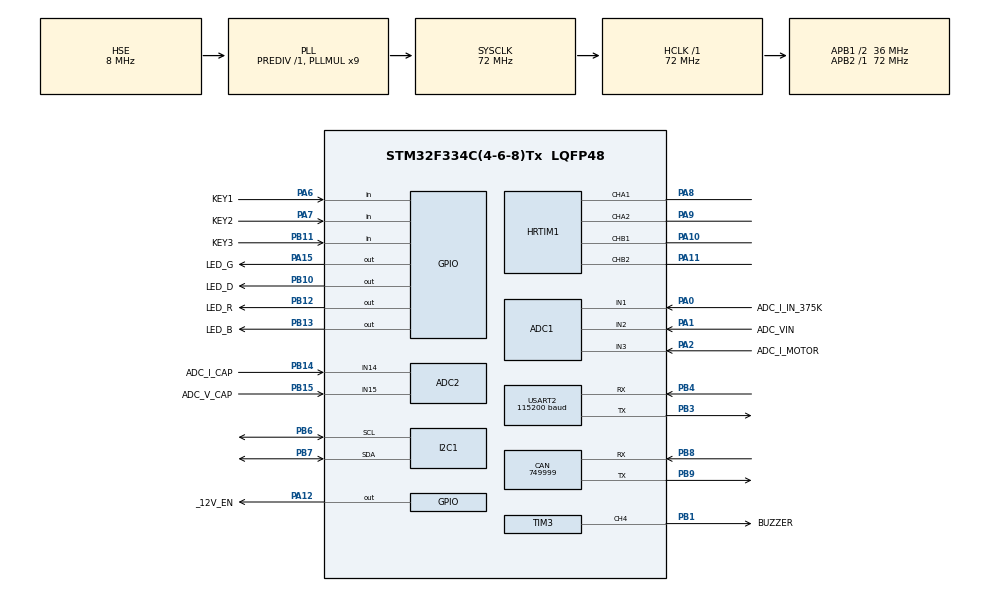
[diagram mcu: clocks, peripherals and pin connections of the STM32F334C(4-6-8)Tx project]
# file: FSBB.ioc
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ADC1.Channel-1\#ChannelRegularConversion=ADC_CHANNEL_2
ADC1.Channel-2\#ChannelRegularConversion=ADC_CHANNEL_1
ADC1.Channel-3\#ChannelRegularConversion=ADC_CHANNEL_3
ADC1.ClockPrescaler=ADC_CLOCK_ASYNC_DIV1
ADC1.ContinuousConvMode=ENABLE
ADC1.DMAContinuousRequests=ENABLE
ADC1.EnableInjectedConversion=DISABLE
ADC1.ExternalTrigConv=ADC_SOFTWARE_START
ADC1.NbrOfConversion=3
ADC1.NbrOfConversionFlag=1
ADC1.Offset-1\#ChannelRegularConversion=0
ADC1.Offset-2\#ChannelRegularConversion=0
ADC1.Offset-3\#ChannelRegularConversion=0
ADC1.OffsetNumber-1\#ChannelRegularConversion=ADC_OFFSET_NONE
ADC1.OffsetNumber-2\#ChannelRegularConversion=ADC_OFFSET_NONE
ADC1.OffsetNumber-3\#ChannelRegularConversion=ADC_OFFSET_NONE
ADC1.Rank-1\#ChannelRegularConversion=1
ADC1.Rank-2\#ChannelRegularConversion=2
ADC1.Rank-3\#ChannelRegularConversion=3
ADC1.SamplingTime-1\#ChannelRegularConversion=ADC_SAMPLETIME_181CYCLES_5
ADC1.SamplingTime-2\#ChannelRegularConversion=ADC_SAMPLETIME_181CYCLES_5
ADC1.SamplingTime-3\#ChannelRegularConversion=ADC_SAMPLETIME_181CYCLES_5
ADC1.SamplingTimeOPAMP-2\#ChannelRegularConversion=ADC_SAMPLETIME_61CYCLES_5
ADC1.SamplingTimeOPAMP-3\#ChannelRegularConversion=ADC_SAMPLETIME_61CYCLES_5
ADC1.SubFamily=STM32F334x8
ADC1.master=1
ADC2.Channel-0\#ChannelRegularConversion=ADC_CHANNEL_15
ADC2.Channel-1\#ChannelRegularConversion=ADC_CHANNEL_14
ADC2.Channel-2\#ChannelRegularConversion=ADC_CHANNEL_VREFINT
ADC2.ContinuousConvMode=ENABLE
ADC2.DMAContinuousRequests=ENABLE
ADC2.EnableInjectedConversion=DISABLE
ADC2.ExternalTrigConv=ADC_SOFTWARE_START
ADC2.NbrOfConversion=3
ADC2.NbrOfConversionFlag=1
ADC2.Offset-0\#ChannelRegularConversion=0
ADC2.Offset-1\#ChannelRegularConversion=0
ADC2.Offset-2\#ChannelRegularConversion=0
ADC2.OffsetNumber-0\#ChannelRegularConversion=ADC_OFFSET_NONE
ADC2.OffsetNumber-1\#ChannelRegularConversion=ADC_OFFSET_NONE
ADC2.OffsetNumber-2\#ChannelRegularConversion=ADC_OFFSET_NONE
ADC2.Rank-0\#ChannelRegularConversion=1
ADC2.Rank-1\#ChannelRegularConversion=2
ADC2.Rank-2\#ChannelRegularConversion=3
ADC2.SamplingTime-0\#ChannelRegularConversion=ADC_SAMPLETIME_181CYCLES_5
ADC2.SamplingTime-1\#ChannelRegularConversion=ADC_SAMPLETIME_181CYCLES_5
ADC2.SamplingTime-2\#ChannelRegularConversion=ADC_SAMPLETIME_181CYCLES_5
ADC2.SamplingTimeOPAMP-2\#ChannelRegularConversion=ADC_SAMPLETIME_61CYCLES_5
ADC2.SubFamily=STM32F334x8
CAN.CalculateBaudRate=749999
CAN.CalculateTimeBit=1333
CAN.CalculateTimeQuantum=444.44444444444446
Dma.ADC1.0.Direction=DMA_PERIPH_TO_MEMORY
Dma.ADC1.0.Instance=DMA1_Channel1
Dma.ADC1.0.MemDataAlignment=DMA_MDATAALIGN_HALFWORD
Dma.ADC1.0.MemInc=DMA_MINC_ENABLE
Dma.ADC1.0.Mode=DMA_CIRCULAR
Dma.ADC1.0.PeriphDataAlignment=DMA_PDATAALIGN_HALFWORD
Dma.ADC1.0.PeriphInc=DMA_PINC_DISABLE
Dma.ADC1.0.Priority=DMA_PRIORITY_MEDIUM
Dma.ADC2.1.Direction=DMA_PERIPH_TO_MEMORY
Dma.ADC2.1.Instance=DMA1_Channel2
Dma.ADC2.1.MemDataAlignment=DMA_MDATAALIGN_HALFWORD
Dma.ADC2.1.MemInc=DMA_MINC_ENABLE
Dma.ADC2.1.Mode=DMA_CIRCULAR
Dma.ADC2.1.PeriphDataAlignment=DMA_PDATAALIGN_HALFWORD
Dma.ADC2.1.PeriphInc=DMA_PINC_DISABLE
Dma.ADC2.1.Priority=DMA_PRIORITY_LOW
Dma.Request0=ADC1
Dma.Request1=ADC2
HRTIM1.ADCTrigger_Id1=__NULL
HRTIM1.ADCTrigger_Id3=__NULL
HRTIM1.CompareUnit1-MasterTimer=HRTIM_COMPAREUNIT_1
HRTIM1.CompareUnit2-MasterTimer=HRTIM_COMPAREUNIT_2
HRTIM1.CompareUnit3-MasterTimer=HRTIM_COMPAREUNIT_3
HRTIM1.CompareUnit4-MasterTimer=HRTIM_COMPAREUNIT_4
HRTIM1.CompareValue1-MasterTimer=1000
HRTIM1.CompareValue2-MasterTimer=1000
HRTIM1.CompareValue3-MasterTimer=1000
HRTIM1.CompareValue4-MasterTimer=1000
HRTIM1.DeadTimeInsertion-Output_TA1TA2=HRTIM_TIMDEADTIMEINSERTION_ENABLED
HRTIM1.DeadTimeInsertion-Output_TB1TB2=HRTIM_TIMDEADTIMEINSERTION_ENABLED
HRTIM1.Deadtimeconfig-Output_TA1TA2=HRTIM_TIMERINDEX_TIMER_A
HRTIM1.FallingLock-Output_TA1TA2=HRTIM_TIMDEADTIME_FALLINGLOCK_READONLY
HRTIM1.FallingLock-Output_TB1TB2=HRTIM_TIMDEADTIME_FALLINGLOCK_READONLY
HRTIM1.FallingSign-Output_TA1TA2=HRTIM_TIMDEADTIME_FALLINGSIGN_POSITIVE
HRTIM1.FallingSign-Output_TB1TB2=HRTIM_TIMDEADTIME_FALLINGSIGN_POSITIVE
HRTIM1.FallingSignLock-Output_TA1TA2=HRTIM_TIMDEADTIME_FALLINGSIGNLOCK_READONLY
HRTIM1.FallingSignLock-Output_TB1TB2=HRTIM_TIMDEADTIME_FALLINGSIGNLOCK_READONLY
HRTIM1.FallingValue-Output_TA1TA2=10
HRTIM1.FallingValue-Output_TB1TB2=10
HRTIM1.FaultLock-Output_TB1TB2=HRTIM_TIMFAULTLOCK_READWRITE
HRTIM1.IdleMode1-Output_TB1TB2=HRTIM_OUTPUTIDLEMODE_NONE
HRTIM1.NumberDMARequests_TA=0
HRTIM1.NumberDMARequests_TB=0
HRTIM1.NumberInterruptRequests_Master-MasterTimer=0
HRTIM1.NumberResetSource1-Output_TA1TA2=1
HRTIM1.NumberResetSource1-Output_TB1TB2=1
HRTIM1.NumberSetSource1-Output_TA1TA2=1
HRTIM1.NumberSetSource1-Output_TB1TB2=1
HRTIM1.Periode_MASTER=5760
HRTIM1.Periode_TA=5760
HRTIM1.Periode_TB=5760
HRTIM1.Polarity1-Output_TB1TB2=HRTIM_OUTPUTPOLARITY_HIGH
HRTIM1.PreloadEnable-Output_TA1TA2=HRTIM_PRELOAD_ENABLED
HRTIM1.PreloadEnable-Output_TB1TB2=HRTIM_PRELOAD_ENABLED
HRTIM1.PrescalerDead-Output_TA1TA2=HRTIM_TIMDEADTIME_PRESCALERRATIO_MUL8
HRTIM1.PrescalerRatio_MASTER=HRTIM_PRESCALERRATIO_MUL8
HRTIM1.PrescalerRatio_TA=HRTIM_PRESCALERRATIO_MUL8
HRTIM1.PrescalerRatio_TB=HRTIM_PRESCALERRATIO_MUL8
HRTIM1.RepetitionUpdate-Output_TA1TA2=HRTIM_UPDATEONREPETITION_ENABLED
HRTIM1.RepetitionUpdate-Output_TB1TB2=HRTIM_UPDATEONREPETITION_ENABLED
HRTIM1.ResetOutput1_Source1-Output_TA1TA2=HRTIM_OUTPUTRESET_MASTERCMP2
HRTIM1.ResetOutput1_Source1-Output_TB1TB2=HRTIM_OUTPUTRESET_MASTERCMP4
HRTIM1.RisingLock-Output_TA1TA2=HRTIM_TIMDEADTIME_RISINGLOCK_READONLY
HRTIM1.RisingLock-Output_TB1TB2=HRTIM_TIMDEADTIME_RISINGLOCK_READONLY
HRTIM1.RisingSign-Output_TA1TA2=HRTIM_TIMDEADTIME_RISINGSIGN_POSITIVE
HRTIM1.RisingSign-Output_TB1TB2=HRTIM_TIMDEADTIME_RISINGSIGN_POSITIVE
HRTIM1.RisingSignLock-Output_TA1TA2=HRTIM_TIMDEADTIME_RISINGSIGNLOCK_READONLY
HRTIM1.RisingSignLock-Output_TB1TB2=HRTIM_TIMDEADTIME_RISINGSIGNLOCK_READONLY
HRTIM1.RisingValue-Output_TA1TA2=10
HRTIM1.RisingValue-Output_TB1TB2=10
HRTIM1.SetOutput1_Source1-Output_TA1TA2=HRTIM_OUTPUTSET_MASTERCMP1
HRTIM1.SetOutput1_Source1-Output_TB1TB2=HRTIM_OUTPUTSET_MASTERCMP3
HRTIM1.UpdateGating-Output_TA1TA2=HRTIM_UPDATEGATING_INDEPENDENT
HRTIM1.UpdateGating-Output_TB1TB2=HRTIM_UPDATEGATING_INDEPENDENT
Mcu.Family=STM32F3
Mcu.Name=STM32F334C(4-6-8)Tx
Mcu.Package=LQFP48
NVIC.CAN_RX0_IRQn=true\:0\:0\:false\:false\:true\:true\:true\:true
NVIC.CAN_RX1_IRQn=true\:0\:0\:false\:false\:true\:true\:true\:true
NVIC.CAN_TX_IRQn=true\:0\:0\:false\:false\:true\:true\:true\:true
NVIC.PriorityGroup=NVIC_PRIORITYGROUP_4
NVIC.TIM1_UP_TIM16_IRQn=true\:14\:0\:true\:false\:true\:true\:true\:true
PA0.GPIO_Label=ADC_I_IN_375K
PA0.Mode=IN1-Single-Ended
PA0.Signal=ADC1_IN1
PA1.GPIO_Label=ADC_VIN
PA1.Mode=IN2-Single-Ended
PA1.Signal=ADC1_IN2
PA10.Mode=Output_TB1TB2
PA10.Signal=HRTIM1_CHB1
PA11.Mode=Output_TB1TB2
PA11.Signal=HRTIM1_CHB2
PA12.GPIO_Label=_12V_EN
PA12.GPIO_ModeDefaultOutputPP=GPIO_MODE_OUTPUT_PP
PA12.GPIO_PuPd=GPIO_NOPULL
PA12.GPIO_Speed=GPIO_SPEED_FREQ_LOW
PA12.PinState=GPIO_PIN_RESET
PA12.Signal=GPIO_Output
PA13.Mode=Serial_Wire
PA13.Signal=SYS_JTMS-SWDIO
PA14.Mode=Serial_Wire
PA14.Signal=SYS_JTCK-SWCLK
PA15.GPIO_Label=LED_G
PA15.GPIO_ModeDefaultOutputPP=GPIO_MODE_OUTPUT_PP
PA15.GPIO_Speed=GPIO_SPEED_FREQ_LOW
PA15.PinState=GPIO_PIN_SET
PA15.Signal=GPIO_Output
PA2.GPIO_Label=ADC_I_MOTOR
PA2.Mode=IN3-Single-Ended
PA2.Signal=ADC1_IN3
PA6.GPIO_Label=KEY1
PA6.GPIO_PuPd=GPIO_PULLUP
PA6.Signal=GPIO_Input
PA7.GPIO_Label=KEY2
PA7.GPIO_PuPd=GPIO_PULLUP
PA7.Signal=GPIO_Input
PA8.Mode=Output_TA1TA2
PA8.Signal=HRTIM1_CHA1
PA9.Mode=Output_TA1TA2
PA9.Signal=HRTIM1_CHA2
PB1.GPIO_Label=BUZZER
PB1.Signal=S_TIM3_CH4
PB10.GPIO_Label=LED_D
PB10.Signal=GPIO_Output
PB11.GPIO_Label=KEY3
PB11.GPIO_Mode=GPIO_MODE_INPUT
PB11.GPIO_PuPd=GPIO_PULLUP
PB11.Signal=GPIO_Input
PB12.GPIO_Label=LED_R
PB12.GPIO_ModeDefaultOutputPP=GPIO_MODE_OUTPUT_PP
PB12.GPIO_PuPd=GPIO_NOPULL
PB12.PinState=GPIO_PIN_SET
PB12.Signal=GPIO_Output
PB13.GPIO_Label=LED_B
PB13.PinState=GPIO_PIN_SET
PB13.Signal=GPIO_Output
PB14.GPIO_Label=ADC_I_CAP
PB14.Mode=IN14-Single-Ended
PB14.Signal=ADC2_IN14
PB15.GPIO_Label=ADC_V_CAP
PB15.Mode=IN15-Single-Ended
PB15.Signal=ADC2_IN15
PB3.GPIO_Speed=GPIO_SPEED_FREQ_HIGH
PB3.Mode=Asynchronous
PB3.Signal=USART2_TX
PB4.Mode=Asynchronous
PB4.Signal=USART2_RX
PB6.Mode=I2C
PB6.Signal=I2C1_SCL
PB7.Mode=I2C
PB7.Signal=I2C1_SDA
PB8.Mode=CAN_Activate
PB8.Signal=CAN_RX
PB9.Mode=CAN_Activate
PB9.Signal=CAN_TX
PF0\ /\ OSC_IN.Mode=HSE-External-Oscillator
PF0\ /\ OSC_IN.Signal=RCC_OSC_IN
PF1\ /\ OSC_OUT.Mode=HSE-External-Oscillator
PF1\ /\ OSC_OUT.Signal=RCC_OSC_OUT
ProjectManager.HeapSize=0x200
ProjectManager.StackSize=0x400
ProjectManager.TargetToolchain=MDK-ARM V5.32
RCC.AHBFreq_Value=72000000
RCC.APB1CLKDivider=RCC_HCLK_DIV2
RCC.APB1Freq_Value=36000000
RCC.APB1TimFreq_Value=72000000
RCC.APB2Freq_Value=72000000
RCC.APB2TimFreq_Value=72000000
RCC.CortexFreq_Value=72000000
RCC.HCLKFreq_Value=72000000
RCC.HRTIMSelection=RCC_HRTIM1CLK_PLLCLK
RCC.HSE_VALUE=8000000
RCC.HSI_VALUE=8000000
RCC.LSE_VALUE=32768
RCC.PLLMUL=RCC_PLL_MUL9
RCC.PLLSourceVirtual=RCC_PLLSOURCE_HSE
RCC.SYSCLKFreq_VALUE=72000000
RCC.SYSCLKSourceVirtual=RCC_SYSCLKSOURCE_PLLCLK
SH.S_TIM3_CH4.0=TIM3_CH4,PWM Generation4 CH4
TIM1.AutoReloadPreload=TIM_AUTORELOAD_PRELOAD_ENABLE
TIM1.ClockDivision=TIM_CLOCKDIVISION_DIV1
TIM1.Period=599
TIM1.Prescaler=0
TIM1.TIM_MasterOutputTrigger=TIM_TRGO_ENABLE
TIM1.TIM_MasterOutputTrigger2=TIM_TRGO2_OC2REF
TIM1.TIM_MasterSlaveMode=TIM_MASTERSLAVEMODE_DISABLE
TIM3.AutoReloadPreload=TIM_AUTORELOAD_PRELOAD_ENABLE
TIM3.Channel-PWM\ Generation4\ CH4=TIM_CHANNEL_4
TIM3.Period=2399
TIM3.Prescaler=2
TIM3.Pulse-PWM\ Generation4\ CH4=1800
USART2.BaudRate=115200
USART2.SwapParam=ADVFEATURE_SWAP_DISABLE
USART2.VirtualMode-Asynchronous=VM_ASYNC
VP_ADC2_Vref_Input.Mode=IN-Vrefint
VP_HRTIM1_VS_hrtimMasterTimerNoOutput.Mode=MasterTimer
VP_TIM1_VS_ClockSourceINT.Mode=Internal
VP_TIM3_VS_ClockSourceINT.Mode=Internal
board=custom

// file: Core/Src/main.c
/* USER CODE BEGIN Header */
/**
  ******************************************************************************
  * @file           : main.c
  * @brief          : Main program body
  ******************************************************************************
  * @attention
  *
  * Copyright (c) 2023 STMicroelectronics.
  * All rights reserved.
  *
  * This software is licensed under terms that can be found in the LICENSE file
  * in the root directory of this software component.
  * If no LICENSE file comes with this software, it is provided AS-IS.
  *
  ******************************************************************************
  */
/* USER CODE END Header */
#include "main.h"
#include "adc.h"
#include "can.h"
#include "dma.h"
#include "hrtim.h"
#include "i2c.h"
#include "tim.h"
#include "usart.h"
#include "gpio.h"

/* USER CODE BEGIN Includes */
#include "Key.h"
#include "Measure.h"
#include "Led.h"
#include "Communication.h"
#include "PID.h"
#include "Buzzer.h"
#include "Power_control.h"
#include "TIMER.h"
#include "bsp_can.h"
/* USER CODE END Includes */

/* USER CODE BEGIN PTD */
extern int TIM_Flag;
extern uint16_t LED_Cnt;
int16_t CHA1=48,CHA2=1200,CHB1=48,CHB2=10416;
extern control_struct_t control;                               //控制结构体
uint32_t Data_1,Data_2;
/* USER CODE END PTD */

void SystemClock_Config(void);

int main(void)
{

  /* MCU Configuration--------------------------------------------------------*/

  /* Reset of all peripherals, Initializes the Flash interface and the Systick. */
  HAL_Init();

  /* Configure the system clock */
  SystemClock_Config();

  /* Initialize all configured peripherals */
  MX_GPIO_Init();
  MX_DMA_Init();
  MX_ADC1_Init();
  MX_ADC2_Init();
  MX_CAN_Init();
  MX_HRTIM1_Init();
  MX_I2C1_Init();
  MX_USART2_UART_Init();
  MX_TIM1_Init();
  MX_TIM3_Init();
  /* USER CODE BEGIN 2 */
	ADC_init();
	HRTIM_Init();
	Bsp_canInit();
	HAL_TIM_Base_Start_IT(&htim1);
	HAL_Delay(1000);
  Power_on_Self_Test();
	measure.V_REFINT_CAL = *(__IO uint32_t *)(0X1FFFF7BA);

//以BUCK模式作为默认模式
	PID_init(&control.currout_loop, 2.0f, 3.0f, 0.01f, BUCK_LEFT_MAX_DUTY-BUCK_LEFT_MIN_DUTY, 200, BUCK_LEFT_MIN_DUTY-BUCK_LEFT_MAX_DUTY, -200);     //DC-DC电流环
  PID_init(&control.voltout_loop, 20.0f, 3.0f, 0.01f,BUCK_LEFT_MAX_DUTY-BUCK_LEFT_MIN_DUTY, 200, BUCK_LEFT_MIN_DUTY-BUCK_LEFT_MAX_DUTY, -200);      //电容电压环
  PID_init(&control.powerin_loop, 10.2f, 3.0f, 0.11f,400,50,-400,50);

//BUCK-BOOST参数
	//PID_init(&control.currout_loop, 1.0f, 1.5f, 0.01f, BUCK_BOOST_RIGHT_MAX_DUTY- BUCK_BOOST_RIGHT_MIN_DUTY, 200, BUCK_BOOST_RIGHT_MIN_DUTY-BUCK_BOOST_RIGHT_MAX_DUTY, -200);     //DC-DC电流环
  //PID_init(&control.voltout_loop, 1.0f, 1.0f, 0.1f,BUCK_BOOST_RIGHT_MAX_DUTY- BUCK_BOOST_RIGHT_MIN_DUTY, 200, BUCK_BOOST_RIGHT_MIN_DUTY-BUCK_BOOST_RIGHT_MAX_DUTY, -200);      //电容电压环
//  PID_init(&control.powerin_loop, 0.1f, 0.01f,0.1f, 10416, 200, -10416, -200);       //电管功率环，
  /* USER CODE END 2 */

  /* Infinite loop */
  /* USER CODE BEGIN WHILE */
  while (1)
  {
		my_key();
		Bluetooth_transmission1();
		Bluetooth_transmission2();
		if(LED_Cnt%100==0)
		{
			Led_Config_Control();
		}
		if(LED_Cnt>=2000)
		{
			Led_Control();
			LED_Cnt=0;
		}
    /* USER CODE END WHILE */

  }
}

void SystemClock_Config(void)
{
  RCC_OscInitTypeDef RCC_OscInitStruct = {0};
  RCC_ClkInitTypeDef RCC_ClkInitStruct = {0};
  RCC_PeriphCLKInitTypeDef PeriphClkInit = {0};

  /** Initializes the RCC Oscillators according to the specified parameters
  * in the RCC_OscInitTypeDef structure.
  */
  RCC_OscInitStruct.OscillatorType = RCC_OSCILLATORTYPE_HSI|RCC_OSCILLATORTYPE_HSE;
  RCC_OscInitStruct.HSEState = RCC_HSE_ON;
  RCC_OscInitStruct.HSEPredivValue = RCC_HSE_PREDIV_DIV1;
  RCC_OscInitStruct.HSIState = RCC_HSI_ON;
  RCC_OscInitStruct.HSICalibrationValue = RCC_HSICALIBRATION_DEFAULT;
  RCC_OscInitStruct.PLL.PLLState = RCC_PLL_ON;
  RCC_OscInitStruct.PLL.PLLSource = RCC_PLLSOURCE_HSE;
  RCC_OscInitStruct.PLL.PLLMUL = RCC_PLL_MUL9;
  if (HAL_RCC_OscConfig(&RCC_OscInitStruct) != HAL_OK)
  {
    Error_Handler();
  }

  /** Initializes the CPU, AHB and APB buses clocks
  */
  RCC_ClkInitStruct.ClockType = RCC_CLOCKTYPE_HCLK|RCC_CLOCKTYPE_SYSCLK
                              |RCC_CLOCKTYPE_PCLK1|RCC_CLOCKTYPE_PCLK2;
  RCC_ClkInitStruct.SYSCLKSource = RCC_SYSCLKSOURCE_PLLCLK;
  RCC_ClkInitStruct.AHBCLKDivider = RCC_SYSCLK_DIV1;
  RCC_ClkInitStruct.APB1CLKDivider = RCC_HCLK_DIV2;
  RCC_ClkInitStruct.APB2CLKDivider = RCC_HCLK_DIV1;

  if (HAL_RCC_ClockConfig(&RCC_ClkInitStruct, FLASH_LATENCY_2) != HAL_OK)
  {
    Error_Handler();
  }
  PeriphClkInit.PeriphClockSelection = RCC_PERIPHCLK_HRTIM1|RCC_PERIPHCLK_I2C1
                              |RCC_PERIPHCLK_TIM1|RCC_PERIPHCLK_ADC12;
  PeriphClkInit.Adc12ClockSelection = RCC_ADC12PLLCLK_DIV1;
  PeriphClkInit.I2c1ClockSelection = RCC_I2C1CLKSOURCE_HSI;
  PeriphClkInit.Tim1ClockSelection = RCC_TIM1CLK_HCLK;
  PeriphClkInit.Hrtim1ClockSelection = RCC_HRTIM1CLK_PLLCLK;
  if (HAL_RCCEx_PeriphCLKConfig(&PeriphClkInit) != HAL_OK)
  {
    Error_Handler();
  }
}

void Error_Handler(void)
{
  /* USER CODE BEGIN Error_Handler_Debug */
  /* User can add his own implementation to report the HAL error return state */
  __disable_irq();
  while (1)
  {
    Led_Config_Control();
  }
  /* USER CODE END Error_Handler_Debug */
}
